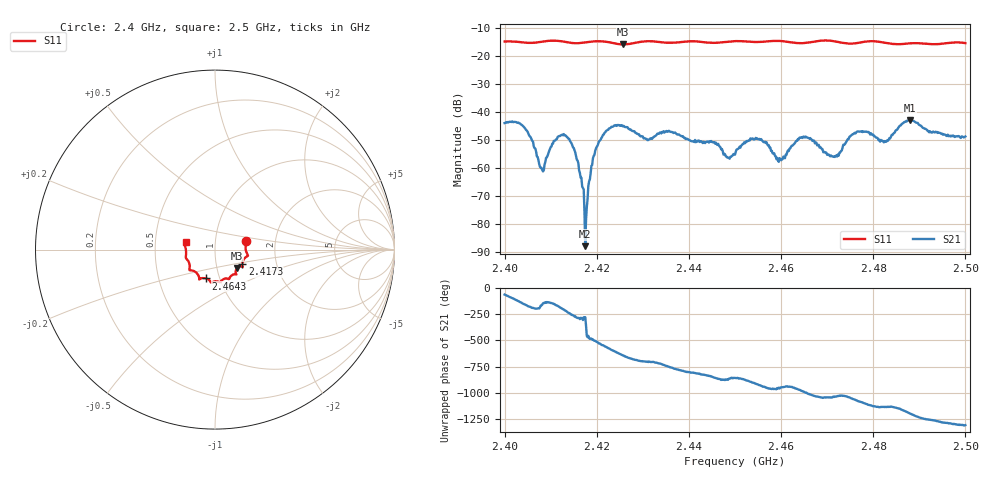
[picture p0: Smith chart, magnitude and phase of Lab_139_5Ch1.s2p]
# Hz S RI R 50
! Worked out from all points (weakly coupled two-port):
!   601 points, 2.4 GHz to 2.5 GHz, reference 50 ohm
!   highest |S21| = -42.79 dB at 2.488 GHz (marker M1); lowest = -87.8 dB at 2.4175 GHz (marker M2)
!   lowest |S11| = -15.9 dB at 2.4257 GHz (marker M3), VSWR 1.38, Z = 62.5 - j13.1 ohm
!   |S11| at or under -10 dB: start of sweep to end of sweep
!   S12 and S22 are empty: the file has one direction only
!   S11 on the Smith chart (normalised r, x): 2.4 GHz: 1.41, +0.14; 2.4173 GHz: 1.34, -0.23; 2.4643 GHz: 0.86, -0.28; 2.5 GHz: 0.72, +0.06
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2.4e9  0.1734 0.0495  0.00327 -0.00546  0 0  0 0
2.4045e9  0.1708 0.0196  -0.00466 -0.00192  0 0  0 0
2.408e9  0.1779 -0.0206  -0.000975 -0.00029  0 0  0 0
2.410833e9  0.1836 -0.0342  -0.00268 -0.00151  0 0  0 0
2.413333e9  0.1714 -0.0425  -0.00302 0.00229  0 0  0 0
2.415e9  0.1592 -0.0556  -0.000343 0.00227  0 0  0 0
2.416667e9  0.153 -0.0743  0.000158 0.000657  0 0  0 0
2.417333e9  0.1523 -0.0816  5.84e-05 0.000154  0 0  0 0
2.4175e9  0.1523 -0.0837  4.34e-06 4.06e-05  0 0  0 0
2.420167e9  0.1546 -0.0974  -0.00231 -0.000981  0 0  0 0
2.425667e9  0.1229 -0.1023  0.00127 0.00542  0 0  0 0
2.433333e9  0.1132 -0.1369  0.00411 6.73e-05  0 0  0 0
2.45e9  0.0294 -0.1809  -0.00132 -0.00113  0 0  0 0
2.455e9  0.00179 -0.1768  -0.00303 0.00127  0 0  0 0
2.459833e9  -0.0234 -0.1829  -0.00087 0.00114  0 0  0 0
2.464333e9  -0.0499 -0.1607  -0.000481 0.00351  0 0  0 0
2.466667e9  -0.0759 -0.1597  0.00174 0.00271  0 0  0 0
2.471667e9  -0.0875 -0.1591  0.00117 0.00106  0 0  0 0
2.476833e9  -0.1249 -0.1169  0.00449 -0.000359  0 0  0 0
2.483333e9  -0.1409 -0.0898  0.0017 -0.00271  0 0  0 0
2.488e9  -0.1597 -0.0508  -0.00372 -0.00622  0 0  0 0
2.5e9  -0.1638 0.0425  -0.00223 0.00292  0 0  0 0
